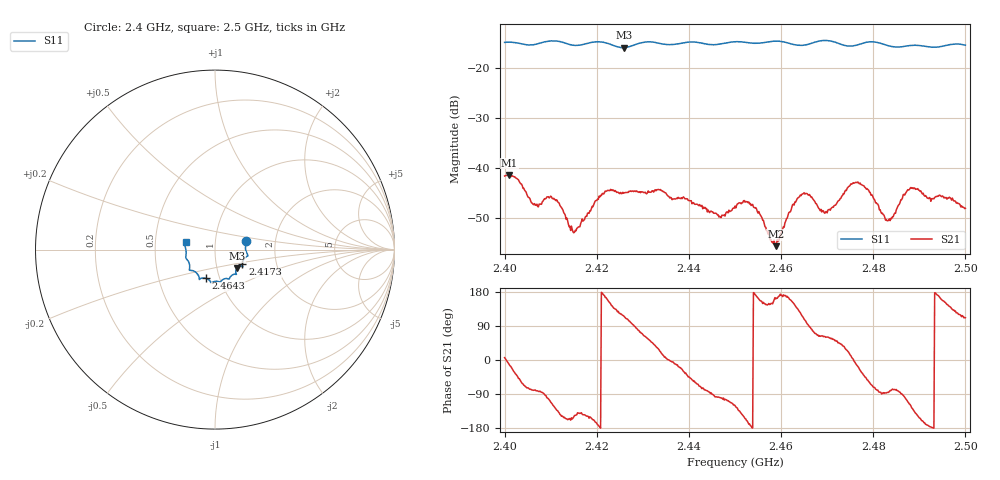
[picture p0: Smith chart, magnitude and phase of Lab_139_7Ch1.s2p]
# Hz S RI R 50
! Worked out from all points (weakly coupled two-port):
!   601 points, 2.4 GHz to 2.5 GHz, reference 50 ohm
!   highest |S21| = -41.41 dB at 2.401 GHz (marker M1); lowest = -55.7 dB at 2.4588 GHz (marker M2)
!   lowest |S11| = -15.9 dB at 2.4258 GHz (marker M3), VSWR 1.38, Z = 62.3 - j13.2 ohm
!   |S11| at or under -10 dB: start of sweep to end of sweep
!   S12 and S22 are empty: the file has one direction only
!   S11 on the Smith chart (normalised r, x): 2.4 GHz: 1.41, +0.14; 2.4173 GHz: 1.34, -0.23; 2.4643 GHz: 0.86, -0.28; 2.5 GHz: 0.72, +0.06
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2.4e9  0.1734 0.0495  0.00825 0.000897  0 0  0 0
2.401e9  0.1752 0.0458  0.00832 -0.00176  0 0  0 0
2.403167e9  0.1733 0.033  0.00481 -0.00551  0 0  0 0
2.406333e9  0.1712 -0.00291  0.00074 -0.00422  0 0  0 0
2.411167e9  0.183 -0.0344  -0.00296 -0.00364  0 0  0 0
2.414833e9  0.16 -0.054  -0.00205 -0.00103  0 0  0 0
2.416667e9  0.153 -0.0747  -0.00219 -0.0019  0 0  0 0
2.417333e9  0.1525 -0.082  -0.00247 -0.00176  0 0  0 0
2.421667e9  0.1525 -0.0951  -0.00556 0.000974  0 0  0 0
2.425833e9  0.1215 -0.1035  -0.0025 0.00499  0 0  0 0
2.433333e9  0.1131 -0.1368  0.00529 0.00303  0 0  0 0
2.446667e9  0.0424 -0.1678  -0.000523 -0.00324  0 0  0 0
2.45e9  0.0295 -0.1806  -0.00207 -0.00359  0 0  0 0
2.454167e9  0.00893 -0.1763  -0.004 0.000253  0 0  0 0
2.458833e9  -0.0213 -0.1843  -0.00156 0.000531  0 0  0 0
2.464333e9  -0.0504 -0.1603  -0.00273 0.00451  0 0  0 0
2.466667e9  -0.0761 -0.1597  0.000803 0.00504  0 0  0 0
2.469833e9  -0.0877 -0.1668  0.00181 0.00318  0 0  0 0
2.476667e9  -0.1236 -0.1175  0.00691 -0.00214  0 0  0 0
2.483333e9  -0.1407 -0.0895  0.000234 -0.00297  0 0  0 0
2.4885e9  -0.1615 -0.0484  -0.00389 -0.00498  0 0  0 0
2.5e9  -0.1634 0.0423  -0.00144 0.00367  0 0  0 0
